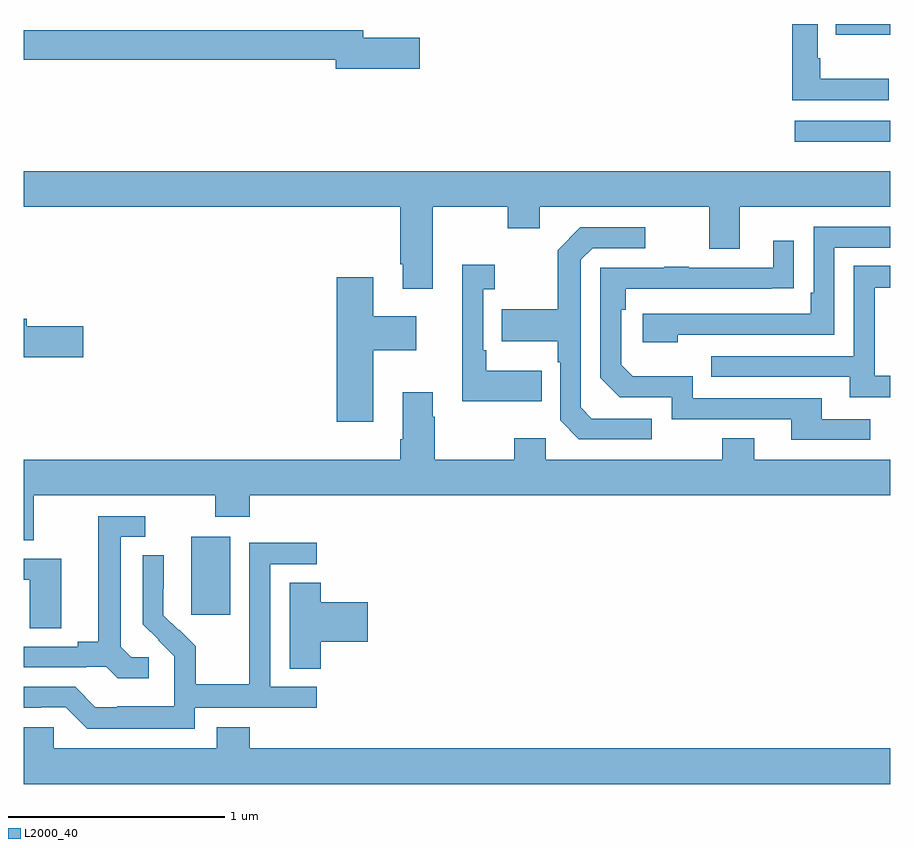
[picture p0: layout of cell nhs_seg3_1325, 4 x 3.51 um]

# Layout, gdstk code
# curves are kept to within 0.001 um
import gdstk
lib = gdstk.Library(unit=1e-6, precision=1e-09)
def R(c, l, rs):  # rectangles x0, y0, x1, y1
    for r in rs: c.add(gdstk.rectangle(r[:2], r[2:], *l))
def P(c, l, *ps):  # polygons
    for p in ps: c.add(gdstk.Polygon(p, *l))
L2000_40 = (2000, 40)

nhs_seg3_1325 = lib.new_cell('nhs_seg3_1325')
R(nhs_seg3_1325, L2000_40, [(179.774,725.673,179.953,726.034), (182.559,727.856,183,727.953), (182.749,728.351,183,728.4)])
P(nhs_seg3_1325, L2000_40, [(182.992,728.147),(182.677,728.147),(182.677,728.242),(182.664,728.242),(182.664,728.4),(182.548,728.4),(182.548,728.049),(182.992,728.049)],
  [(180.829,728.336),(180.568,728.336),(180.568,728.372),(179,728.372),(179,728.236),(180.44,728.236),(180.44,728.194),(180.829,728.194)],
  [(180.889,727.556),(181.234,727.556),(181.234,727.457),(181.381,727.457),(181.381,727.556),(182.165,727.556),(182.165,727.362),(182.305,727.362),(182.305,727.556),(183,727.556),(183,727.72),(179,727.72),(179,727.556),(180.737,727.556),(180.737,727.291),(180.749,727.291),(180.749,727.179),(180.889,727.179)],
  [(182.018,726.966),(182.742,726.966),(182.742,727.368),(183,727.368),(183,727.464),(182.646,727.464),(182.646,727.159),(182.633,727.159),(182.633,727.062),(181.857,727.062),(181.857,726.932),(182.018,726.932)],
  [(181.9,726.579),(181.623,726.579),(181.572,726.63),(181.572,727.311),(181.626,727.365),(181.87,727.365),(181.87,727.461),(181.569,727.461),(181.464,727.355),(181.464,727.083),(181.207,727.083),(181.207,726.935),(181.464,726.935),(181.464,726.839),(181.476,726.839),(181.476,726.57),(181.563,726.483),(181.9,726.483)],
  [(182.908,726.576),(182.683,726.576),(182.683,726.672),(182.088,726.672),(182.088,726.775),(181.811,726.775),(181.758,726.828),(181.758,727.082),(181.778,727.082),(181.778,727.179),(182.555,727.18),(182.555,727.399),(182.459,727.399),(182.459,727.275),(182.069,727.275),(182.069,727.28),(181.957,727.28),(181.957,727.275),(181.662,727.275),(181.662,726.768),(181.752,726.678),(181.992,726.678),(181.992,726.576),(182.543,726.576),(182.543,726.48),(182.908,726.48)],
  [(181.391,726.799),(181.135,726.799),(181.135,726.895),(181.122,726.895),(181.122,727.175),(181.174,727.175),(181.174,727.288),(181.025,727.288),(181.025,726.659),(181.391,726.659)],
  [(183,726.777),(182.928,726.777),(182.928,727.182),(183,727.182),(183,727.283),(182.832,727.283),(182.832,726.867),(182.173,726.867),(182.173,726.771),(182.813,726.771),(182.813,726.677),(183,726.677)],
  [(180.613,726.893),(180.811,726.893),(180.811,727.051),(180.613,727.051),(180.613,727.231),(180.446,727.231),(180.446,726.564),(180.613,726.564)],
  [(179.275,727.004),(179.014,727.004),(179.014,727.04),(179,727.04),(179,726.862),(179.275,726.862)],
  [(179.047,726.224),(179.884,726.224),(179.884,726.125),(180.044,726.125),(180.044,726.224),(183,726.224),(183,726.388),(182.371,726.388),(182.371,726.487),(182.224,726.487),(182.224,726.388),(181.41,726.388),(181.41,726.487),(181.264,726.487),(181.264,726.388),(180.897,726.388),(180.897,726.587),(180.889,726.587),(180.889,726.7),(180.749,726.7),(180.749,726.484),(180.737,726.484),(180.737,726.388),(179,726.388),(179,726.016),(179.047,726.016)],
  [(179.578,725.478),(179.496,725.478),(179.449,725.525),(179.449,726.033),(179.56,726.033),(179.56,726.129),(179.345,726.129),(179.345,725.549),(179.249,725.549),(179.249,725.526),(179,725.526),(179,725.43),(179.288,725.43),(179.288,725.433),(179.382,725.433),(179.434,725.381),(179.578,725.381)],
  [(179.79,725.244),(180.352,725.244),(180.352,725.34),(180.138,725.34),(180.138,725.907),(180.352,725.907),(180.352,726.006),(180.042,726.006),(180.042,725.576),(180.04,725.576),(180.04,725.353),(179.795,725.353),(179.795,725.527),(179.718,725.604),(179.715,725.601),(179.645,725.672),(179.646,725.948),(179.55,725.948),(179.55,725.63),(179.696,725.482),(179.696,725.385),(179.694,725.385),(179.694,725.251),(179.431,725.251),(179.431,725.247),(179.331,725.247),(179.238,725.34),(179,725.34),(179,725.244),(179.078,725.244),(179.078,725.247),(179.193,725.247),(179.293,725.147),(179.79,725.147)],
  [(179.173,725.931),(179,725.931),(179,725.835),(179.028,725.835),(179.028,725.611),(179.173,725.611)],
  [(180.371,725.549),(180.589,725.549),(180.589,725.732),(180.371,725.732),(180.371,725.822),(180.227,725.822),(180.227,725.425),(180.371,725.425)],
  [(183,725.056),(180.044,725.056),(180.044,725.155),(179.891,725.155),(179.891,725.056),(179.139,725.056),(179.139,725.154),(179.001,725.154),(179.001,725.056),(179,725.056),(179,724.892),(183,724.892)])

lib.write_gds('nhs_seg3_1325.gds')
